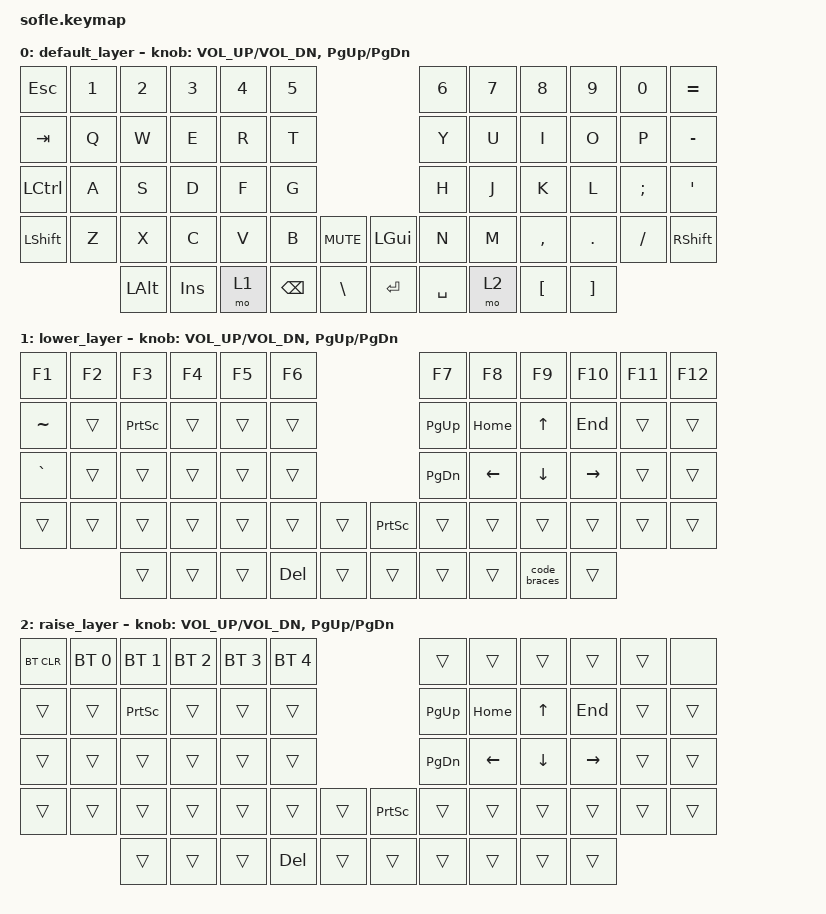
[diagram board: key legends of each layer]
/*
 * Copyright (c) 2020 The ZMK Contributors
 *
 * SPDX-License-Identifier: MIT
 */

#include <behaviors.dtsi>
#include <dt-bindings/zmk/keys.h>
#include <dt-bindings/zmk/bt.h>

// MACRO DEFINITIONS
/ {
    macros {
        code_braces: code_braces {
            label = "code_braces";
            compatible = "zmk,behavior-macro";
            #binding-cells = <0>;
            bindings
                = <&macro_tap &kp LEFT_BRACE>
                , <&macro_tap &kp RETURN>
                , <&macro_tap &kp TAB>
                , <&macro_tap &kp RETURN>
                , <&macro_tap &kp RIGHT_BRACE>
                , <&macro_tap &kp UP>
                ;
        };
    };
};

/ {
    keymap {
        compatible = "zmk,keymap";

        default_layer {
// ------------------------------------------------------------------------------------------------------------
// |  `    |  1  |  2  |  3   |  4   |  5   |                   |  6   |  7    |  8    |  9   |   0   |       |
// |  ESC  |  Q  |  W  |  E   |  R   |  T   |                   |  Y   |  U    |  I    |  O   |   P   | BKSPC |
// |  TAB  |  A  |  S  |  D   |  F   |  G   |                   |  H   |  J    |  K    |  L   |   ;   |   '   |
// | SHIFT |  Z  |  X  |  C   |  V   |  B   |  MUTE  |  |       |  N   |  M    |  ,    |  .   |   /   | SHIFT |
//               | GUI | ALT  | CTRL | LOWER|  ENTER |  | SPACE | RAISE| CTRL  | ALT   | GUI  |
            bindings = <
&kp ESC     &kp N1      &kp N2      &kp N3      &kp N4      &kp N5                                      &kp N6      &kp N7      &kp N8      &kp N9      &kp N0      &kp EQUAL
&kp TAB     &kp Q       &kp W       &kp E       &kp R       &kp T                                       &kp Y       &kp U       &kp I       &kp O       &kp P       &kp MINUS
&kp LCTRL   &kp A       &kp S       &kp D       &kp F       &kp G                                       &kp H       &kp J       &kp K       &kp L       &kp SEMI    &kp SQT
&kp LSHFT   &kp Z       &kp X       &kp C       &kp V       &kp B   &kp C_MUTE          &kp LEFT_GUI    &kp N       &kp M       &kp COMMA   &kp DOT     &kp FSLH    &kp RSHFT
                    &kp LALT   &kp INSERT  &mo 1   &kp BACKSPACE    &kp BACKSLASH       &kp RETURN      &kp SPACE   &mo 2       &kp LBKT    &kp RBKT
            >;

            sensor-bindings = <&inc_dec_kp C_VOL_UP C_VOL_DN &inc_dec_kp PG_UP PG_DN>;
        };

        lower_layer {
// TODO: Some binds are waiting for shifted keycode support.
// ------------------------------------------------------------------------------------------------------------
// |       |  F1 |  F2 |  F3  |  F4  |  F5  |                   |  F6  |  F7   |  F8   |  F9  |  F10  |  F11  |
// | `     |   1 |   2 |   3  |   4  |   5  |                   |   6  |   7   |   8   |   9  |    0  |  F12  |
// |       |  !  |  @  |  #   |  $   |  %   |                   |  ^   |  &    |  *    |  (   |   )   |   |   |
// |       |  =  |  -  |  +   |  {   |  }   |        |  |       |  [   |  ]    |  ;    |  :   |   \   |       |
//               |     |      |      |      |        |  |       |      |       |       |      |
            bindings = <
&kp F1      &kp F2      &kp F3      &kp F4      &kp F5      &kp F6                                  &kp F7      &kp F8      &kp F9      &kp F10     &kp F11     &kp F12
&kp TILDE   &trans      &kp PSCRN   &trans      &trans      &trans                                  &kp PG_UP   &kp HOME    &kp UP      &kp END     &trans      &trans
&kp GRAVE   &trans      &trans      &trans      &trans      &trans                                  &kp PG_DN   &kp LEFT    &kp DOWN    &kp RIGHT   &trans      &trans
&trans      &trans      &trans      &trans      &trans      &trans      &trans      &kp PRINTSCREEN &trans      &trans      &trans      &trans      &trans      &trans
                        &trans      &trans      &trans      &kp DELETE  &trans      &trans          &trans       &trans       &code_braces &trans            
            >;

            sensor-bindings = <&inc_dec_kp C_VOL_UP C_VOL_DN &inc_dec_kp PG_UP PG_DN>;
        };

        raise_layer {
// ------------------------------------------------------------------------------------------------------------
// |BTCLR| BT1  | BT2  |  BT3  |  BT4  |  BT5 |                |      |      |       |      |       |       |
// |     | INS  | PSCR | GUI   |       |      |                | PGUP |      |   ^   |      |       |       |
// |     | ALT  | CTRL | SHIFT |       | CAPS |                | PGDN |   <- |   v   |  ->  |  DEL  | BKSPC |
// |     | UNDO | CUT  | COPY  | PASTE |      |      |  |      |      |      |       |      |       |       |
//              |      |       |       |      |      |  |      |      |      |       |      |
            bindings = <
&bt BT_CLR &bt BT_SEL 0 &bt BT_SEL 1 &bt BT_SEL 2 &bt BT_SEL 3 &bt BT_SEL 4             &trans    &trans    &trans   &trans    &trans  &none
&trans   &trans      &kp PSCRN   &trans      &trans      &trans                                  &kp PG_UP   &kp HOME    &kp UP      &kp END     &trans      &trans
&trans      &trans      &trans      &trans      &trans      &trans                                  &kp PG_DN   &kp LEFT    &kp DOWN    &kp RIGHT   &trans      &trans
&trans      &trans      &trans      &trans      &trans      &trans      &trans      &kp PRINTSCREEN &trans      &trans      &trans      &trans      &trans      &trans
                        &trans      &trans      &trans      &kp DELETE  &trans      &trans          &trans      &trans      &trans      &trans      
            >;

            sensor-bindings = <&inc_dec_kp C_VOL_UP C_VOL_DN &inc_dec_kp PG_UP PG_DN>;
        };
    };
};
